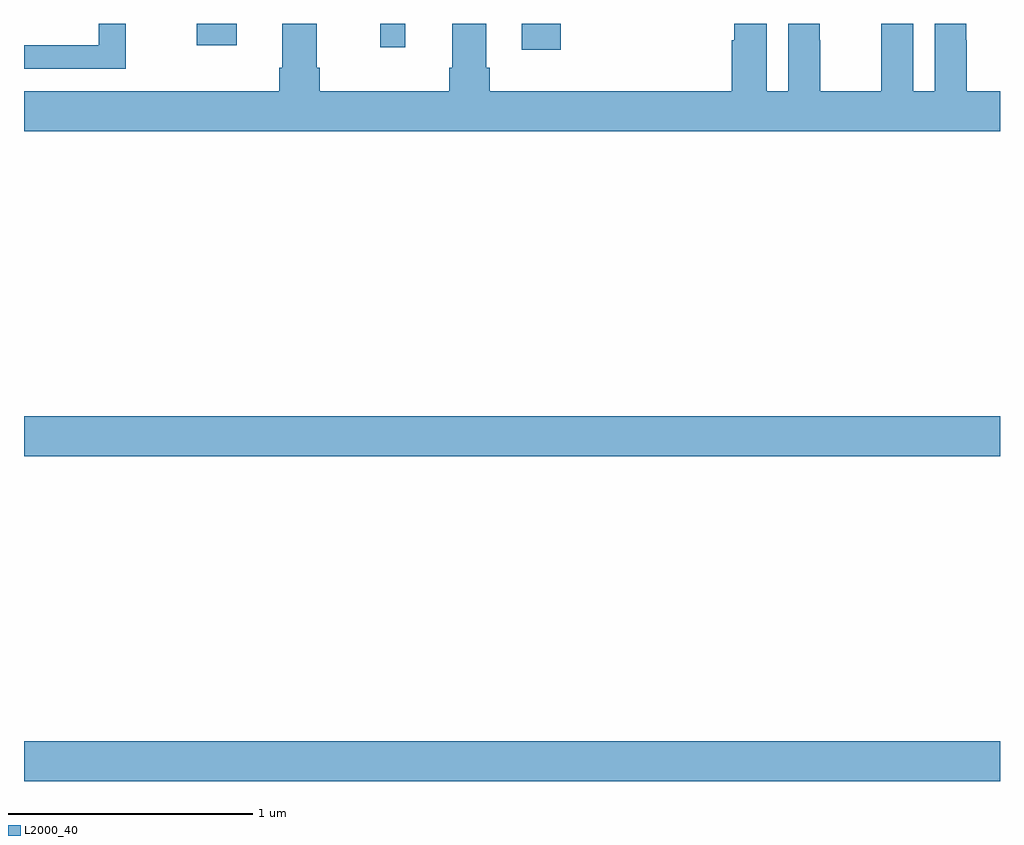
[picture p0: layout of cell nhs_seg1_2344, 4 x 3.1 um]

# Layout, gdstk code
import gdstk
lib = gdstk.Library(unit=1e-6, precision=1e-09)
def R(c, l, rs):  # rectangles x0, y0, x1, y1
    for r in rs: c.add(gdstk.rectangle(r[:2], r[2:], *l))
def P(c, l, *ps):  # polygons
    for p in ps: c.add(gdstk.Polygon(p, *l))
L2000_40 = (2000, 40)

nhs_seg1_2344 = lib.new_cell('nhs_seg1_2344')
R(nhs_seg1_2344, L2000_40, [(239,521.096,243,521.26), (239,522.428,243,522.592), (241.04,524.094,241.199,524.199), (240.46,524.103,240.563,524.199), (239.707,524.112,239.872,524.199)])
P(nhs_seg1_2344, L2000_40, [(243,523.924),(242.863,523.924),(242.863,524.132),(242.862,524.132),(242.862,524.199),(242.732,524.199),(242.732,523.924),(242.644,523.924),(242.644,524.199),(242.514,524.199),(242.514,524.132),(242.513,524.132),(242.513,523.924),(242.263,523.924),(242.263,524.132),(242.262,524.132),(242.262,524.199),(242.132,524.199),(242.132,523.924),(242.044,523.924),(242.044,524.199),(241.91,524.199),(241.91,524.132),(241.901,524.132),(241.901,523.924),(240.908,523.924),(240.908,524.02),(240.895,524.02),(240.895,524.199),(240.755,524.199),(240.755,524.02),(240.743,524.02),(240.743,523.924),(240.212,523.924),(240.212,524.02),(240.199,524.02),(240.199,524.199),(240.059,524.199),(240.059,524.02),(240.047,524.02),(240.047,523.924),(239,523.924),(239,523.76),(243,523.76)],
  [(239.416,524.199),(239.307,524.199),(239.307,524.112),(239,524.112),(239,524.016),(239.416,524.016)])

lib.write_gds('nhs_seg1_2344.gds')
